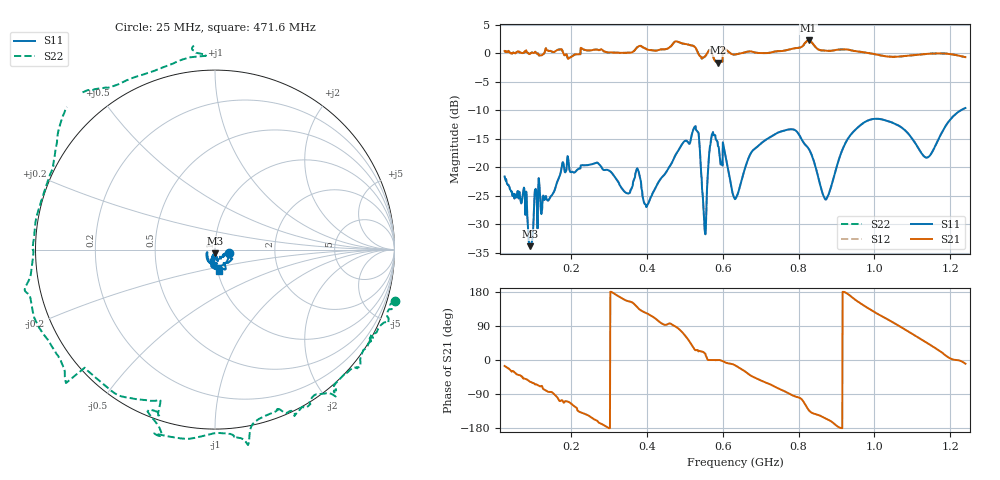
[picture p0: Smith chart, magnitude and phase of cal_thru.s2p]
!Created with skrf (http://scikit-rf.org).
# Hz S RI R 50.0
!freq ReS11 ImS11 ReS21 ImS21 ReS12 ImS12 ReS22 ImS22
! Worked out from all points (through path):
!   1217 points, 25 MHz to 1.24 GHz, reference 50 ohm
!   highest |S21| = 2.23 dB at 826.4 MHz (marker M1); lowest = -1.6 dB at 587.5 MHz (marker M2)
!   group delay of S21, straight-line fit = 1.64 ns
!   lowest |S11| = -33.9 dB at 91.95 MHz (marker M3), VSWR 1.04, Z = 50 - j2.02 ohm
!   |S11| at or under -10 dB: start of sweep to 1.229 GHz
!   |S22| runs from -1.6 to 2.2 dB; largest |S21 - S12| = 1.4
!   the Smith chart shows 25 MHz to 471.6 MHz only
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2.5e7  0.0803 -0.0196  1.004 -0.2848  0.0803 -0.0196  1.004 -0.2848
7.796e7  0.0114 -0.0579  0.6747 -0.785  0.0114 -0.0579  0.6747 -0.785
9.195e7  0.000169 -0.0202  0.5359 -0.8307  0.000169 -0.0202  0.5359 -0.8307
1.1093e8  -0.0121 -0.0339  0.4148 -0.9011  -0.0121 -0.0339  0.4148 -0.9011
2.2784e8  0.0721 -0.0748  -0.8332 -0.7263  0.0721 -0.0748  -0.8332 -0.7263
3.6672e8  0.0731 -0.029  -0.888 0.5594  0.0731 -0.029  -0.888 0.5594
4.3067e8  -0.04 -0.062  -0.2324 1.037  -0.04 -0.062  -0.2324 1.037
4.8163e8  0.0538 -0.1264  0.1289 1.254  0.0538 -0.1264  0.1289 1.254
5.2359e8  0.1359 -0.1699  0.9851 0.6025  0.1359 -0.1699  0.9851 0.6025
5.5157e8  0.0314 -0.00524  0.8741 0.3017  0.0314 -0.00524  0.8741 0.3017
5.6956e8  -0.0505 -0.1697  1.048 0.000183  -0.0505 -0.1697  1.048 0.000183
5.8754e8  -0.1124 -0.1037  0.827 -0.000144  -0.1124 -0.1037  0.827 -0.000144
6.3251e8  -0.051 -0.0114  0.9446 -0.2324  -0.051 -0.0114  0.9446 -0.2324
6.8247e8  -0.1033 -0.099  0.7149 -0.7272  -0.1033 -0.099  0.7149 -0.7272
8.0137e8  0.0364 -0.1891  -0.1757 -1.102  0.0364 -0.1891  -0.1757 -1.102
8.2635e8  0.062 -0.1319  -0.8588 -0.9662  0.062 -0.1319  -0.8588 -0.9662
8.3534e8  0.0574 -0.1122  -0.9401 -0.8046  0.0574 -0.1122  -0.9401 -0.8046
8.7331e8  -0.0446 -0.0274  -0.9528 -0.4431  -0.0446 -0.0274  -0.9528 -0.4431
9.3227e8  -0.1722 -0.0589  -1.064 0.1371  -0.1722 -0.0589  -1.064 0.1371
1.03818e9  -0.1092 -0.2275  -0.2477 0.8987  -0.1092 -0.2275  -0.2477 0.8987
1.16407e9  -0.1599 -0.0283  0.868 0.4849  -0.1599 -0.0283  0.868 0.4849
1.24001e9  -0.2812 0.1726  0.9089 -0.158  -0.2812 0.1726  0.9089 -0.158
